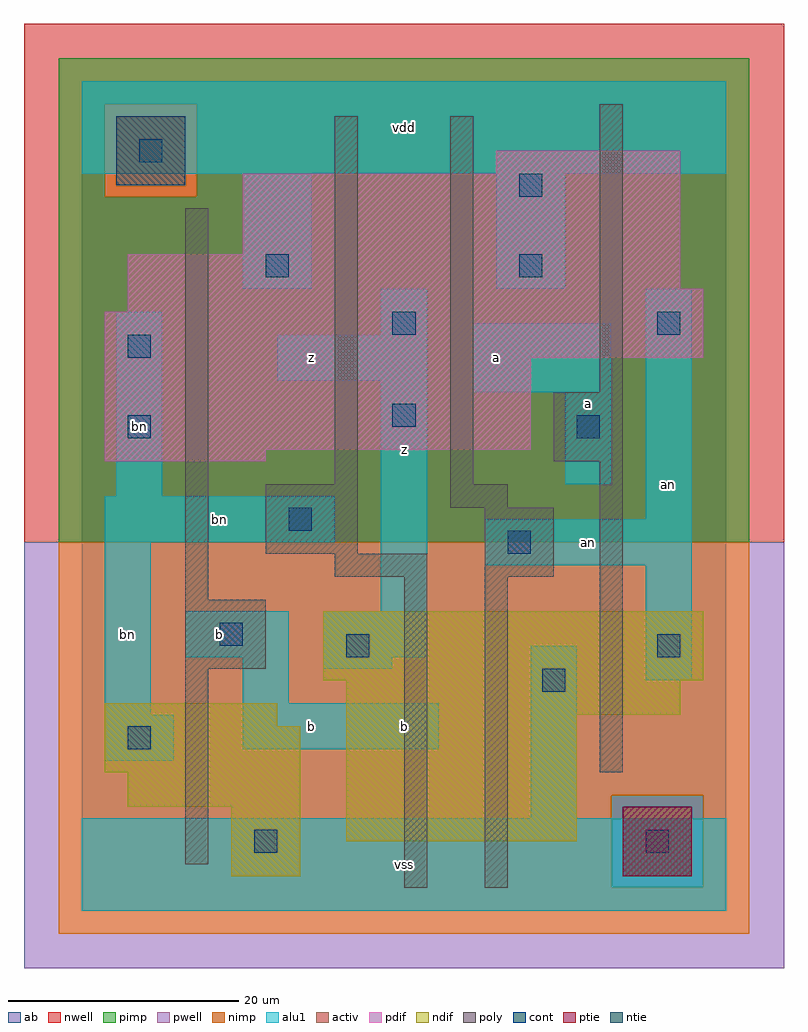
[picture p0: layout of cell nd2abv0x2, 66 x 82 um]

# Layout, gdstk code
import gdstk
lib = gdstk.Library(unit=1e-6, precision=1e-09)
def R(c, l, rs):  # rectangles x0, y0, x1, y1
    for r in rs: c.add(gdstk.rectangle(r[:2], r[2:], *l))
ndif = (3, 0)
pdif = (4, 0)
ntie = (5, 0)
ptie = (6, 0)
cont = (25, 0)
pwell = (41, 0)
nwell = (42, 0)
activ = (43, 0)
pimp = (44, 0)
nimp = (45, 0)
poly = (46, 0)
alu1 = (49, 0)
ab = (63, 0)

nd2abv0x2 = lib.new_cell('nd2abv0x2')
R(nd2abv0x2, ndif, [(13,3,19,9), (23,6,43,17), (4,9,19,12), (2,12,19,16), (2,16,17,18), (23,17,52,20), (21,20,54,26)])
R(nd2abv0x2, pdif, [(2,39,16,40), (2,40,39,48), (2,48,54,52), (4,52,54,54), (4,54,52,57), (14,57,52,64), (36,64,52,66)])
R(nd2abv0x2, ntie, [(3,63,9,69)])
R(nd2abv0x2, ptie, [(47,3,53,9)])
R(nd2abv0x2, cont, [(15,5,17,7), (49,5,51,7), (4,14,6,16), (40,19,42,21), (23,22,25,24), (50,22,52,24), (12,23,14,25), (37,31,39,33), (18,33,20,35), (4,41,6,43), (43,41,45,43), (27,42,29,44), (4,48,6,50), (27,50,29,52), (50,50,52,52), (16,55,18,57), (38,55,40,57), (38,62,40,64), (5,65,7,67)])
R(nd2abv0x2, pwell, [(-5,-5,61,32)])
R(nd2abv0x2, nwell, [(-5,32,61,77)])
R(nd2abv0x2, activ, [(13,3,19,9), (47,3,53,9), (23,6,43,17), (4,9,19,12), (2,12,19,16), (2,16,17,18), (23,17,52,20), (21,20,54,26), (2,39,16,40), (2,40,39,48), (2,48,54,52), (4,52,54,54), (4,54,52,57), (14,57,52,64), (3,63,9,69), (36,64,52,66)])
R(nd2abv0x2, pimp, [(46,2,54,10), (-2,32,58,62), (-2,62,2,70), (10,62,58,70), (-2,70,58,74)])
R(nd2abv0x2, nimp, [(-2,-2,58,2), (-2,2,46,10), (54,2,58,10), (-2,10,58,32), (2,62,10,70)])
R(nd2abv0x2, poly, [(28,2,30,29), (35,2,37,29), (9,4,11,21), (45,12,47,39), (9,21,16,27), (9,27,11,61), (22,29,30,31), (35,29,41,35), (16,31,24,37), (32,35,37,37), (22,37,24,69), (32,37,34,69), (41,39,47,45), (45,45,47,70)])
R(nd2abv0x2, alu1, [(0,0,56,8), (39,8,43,23), (2,13,8,17), (14,14,31,18), (2,17,6,32), (14,18,18,22), (49,20,53,30), (21,21,27,22), (9,22,18,26), (21,22,30,26), (26,26,30,46), (35,30,53,34), (2,32,22,36), (49,34,53,54), (3,36,7,52), (42,37,46,45), (34,45,46,51), (17,46,30,50), (26,50,30,54), (14,54,20,64), (36,54,42,64), (0,64,56,72)])
R(nd2abv0x2, ab, [(0,0,56,72)])
nd2abv0x2.add(gdstk.Label('bn', (4,24), layer=49, texttype=0))
nd2abv0x2.add(gdstk.Label('bn', (5,42), layer=49, texttype=0))
nd2abv0x2.add(gdstk.Label('bn', (12,34), layer=49, texttype=0))
nd2abv0x2.add(gdstk.Label('an', (44,32), layer=49, texttype=0))
nd2abv0x2.add(gdstk.Label('an', (51,37), layer=49, texttype=0))
nd2abv0x2.add(gdstk.Label('b', (20,16), layer=49, texttype=0))
nd2abv0x2.add(gdstk.Label('b', (12,24), layer=49, texttype=0))
nd2abv0x2.add(gdstk.Label('z', (20,48), layer=49, texttype=0))
nd2abv0x2.add(gdstk.Label('vss', (28,4), layer=49, texttype=0))
nd2abv0x2.add(gdstk.Label('b', (28,16), layer=49, texttype=0))
nd2abv0x2.add(gdstk.Label('z', (28,40), layer=49, texttype=0))
nd2abv0x2.add(gdstk.Label('a', (36,48), layer=49, texttype=0))
nd2abv0x2.add(gdstk.Label('vdd', (28,68), layer=49, texttype=0))
nd2abv0x2.add(gdstk.Label('a', (44,44), layer=49, texttype=0))

lib.write_gds('nd2abv0x2.gds')
